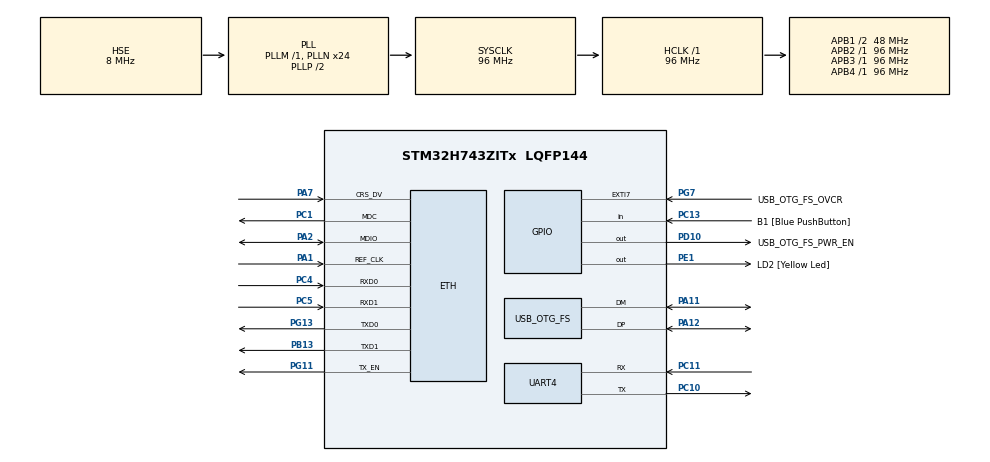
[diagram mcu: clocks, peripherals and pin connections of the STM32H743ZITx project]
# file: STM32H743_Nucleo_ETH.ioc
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CORTEX_M7.AccessPermission-Cortex_Memory_Protection_Unit_Region0_Settings=MPU_REGION_FULL_ACCESS
CORTEX_M7.AccessPermission-Cortex_Memory_Protection_Unit_Region1_Settings=MPU_REGION_FULL_ACCESS
CORTEX_M7.BaseAddress-Cortex_Memory_Protection_Unit_Region0_Settings=0x30040000
CORTEX_M7.CPU_DCache=Enabled
CORTEX_M7.CPU_ICache=Enabled
CORTEX_M7.DisableExec-Cortex_Memory_Protection_Unit_Region0_Settings=MPU_INSTRUCTION_ACCESS_DISABLE
CORTEX_M7.DisableExec-Cortex_Memory_Protection_Unit_Region1_Settings=MPU_INSTRUCTION_ACCESS_DISABLE
CORTEX_M7.Enable-Cortex_Memory_Protection_Unit_Region0_Settings=MPU_REGION_ENABLE
CORTEX_M7.Enable-Cortex_Memory_Protection_Unit_Region1_Settings=MPU_REGION_ENABLE
CORTEX_M7.IsBufferable-Cortex_Memory_Protection_Unit_Region1_Settings=MPU_ACCESS_BUFFERABLE
CORTEX_M7.IsShareable-Cortex_Memory_Protection_Unit_Region1_Settings=MPU_ACCESS_SHAREABLE
CORTEX_M7.MPU_Control=MPU_PRIVILEGED_DEFAULT
CORTEX_M7.Size-Cortex_Memory_Protection_Unit_Region0_Settings=MPU_REGION_SIZE_32KB
CORTEX_M7.Size-Cortex_Memory_Protection_Unit_Region1_Settings=MPU_REGION_SIZE_256B
CORTEX_M7.TypeExtField-Cortex_Memory_Protection_Unit_Region0_Settings=MPU_TEX_LEVEL1
ETH.MACAddr=00\:80\:E1\:01\:01\:01
ETH.MediaInterface=HAL_ETH_RMII_MODE
FREERTOS.HEAP_NUMBER=4
FREERTOS.Queues01=toServerMessage,16,uint16_t,0,Dynamic,NULL,NULL
FREERTOS.Tasks01=MainTask,48,4096,StartMainTask,Default,NULL,Dynamic,NULL,NULL
FREERTOS.configENABLE_FPU=0
FREERTOS.configMINIMAL_STACK_SIZE=256
FREERTOS.configTOTAL_HEAP_SIZE=128000
FREERTOS.configUSE_APPLICATION_TASK_TAG=1
FREERTOS.configUSE_CO_ROUTINES=0
FREERTOS.configUSE_NEWLIB_REENTRANT=1
FREERTOS.configUSE_PREEMPTION=1
FREERTOS.copyHeapFile=1
LWIP.BSP.number=1
LWIP.IP_REASS_MAXAGE=5
LWIP.LWIP_HAVE_LOOPIF=1
LWIP.LWIP_LOOPBACK_MAX_PBUFS=4
LWIP.LWIP_MPU_COMPATIBLE=1
LWIP.LWIP_NETIF_LOOPBACK=1
LWIP.LWIP_SO_LINGER=0
LWIP.LWIP_SO_RCVBUF=0
LWIP.LWIP_SO_RCVTIMEO=1
LWIP.LWIP_SO_SNDRCVTIMEO_NONSTANDARD=1
LWIP.LWIP_SO_SNDTIMEO=1
LWIP.LWIP_TCPIP_CORE_LOCKING=1
LWIP.LWIP_TCPIP_TIMEOUT=1
LWIP.LWIP_TCP_CLOSE_TIMEOUT_MS_DEFAULT=2000
LWIP.LWIP_TCP_KEEPALIVE=0
LWIP.SYS_LIGHTWEIGHT_PROT=0
LWIP.Version=v2.1.2_Cube
LWIP0.BSP.STBoard=false
LWIP0.BSP.api=BSP_COMPONENT_DRIVER
LWIP0.BSP.component=LAN8742
LWIP0.BSP.i2caddr=0
LWIP0.BSP.instance=LAN8742
LWIP0.BSP.name=Driver_PHY
LWIP0.BSP.solution=LAN8742
Mcu.Family=STM32H7
Mcu.Name=STM32H743ZITx
Mcu.Package=LQFP144
NVIC.ETH_IRQn=true\:5\:0\:false\:false\:true\:true\:true\:true
NVIC.OTG_FS_IRQn=true\:5\:0\:false\:false\:true\:true\:true\:true
NVIC.PriorityGroup=NVIC_PRIORITYGROUP_4
NVIC.TIM6_DAC_IRQn=true\:0\:0\:false\:false\:true\:false\:false\:true
NVIC.TimeBase=TIM6_DAC_IRQn
NVIC.TimeBaseIP=TIM6
NVIC.UART4_IRQn=true\:5\:0\:false\:false\:true\:true\:true\:true
PA1.Mode=RMII
PA1.Signal=ETH_REF_CLK
PA11.Mode=Device_Only
PA11.Signal=USB_OTG_FS_DM
PA12.Mode=Device_Only
PA12.Signal=USB_OTG_FS_DP
PA2.GPIO_Speed=GPIO_SPEED_FREQ_VERY_HIGH
PA2.Mode=RMII
PA2.Signal=ETH_MDIO
PA7.Mode=RMII
PA7.Signal=ETH_CRS_DV
PA8.Signal=USB_OTG_FS_SOF
PA9.Signal=USB_OTG_FS_VBUS
PB0.Signal=USB_OTG_HS_ULPI_D1
PB13.GPIO_Speed=GPIO_SPEED_FREQ_VERY_HIGH
PB13.Mode=RMII
PB13.Signal=ETH_TXD1
PB14.Signal=USB_OTG_HS_DM
PC1.GPIO_Speed=GPIO_SPEED_FREQ_VERY_HIGH
PC1.Mode=RMII
PC1.Signal=ETH_MDC
PC10.Mode=Asynchronous
PC10.Signal=UART4_TX
PC11.Mode=Asynchronous
PC11.Signal=UART4_RX
PC13.GPIO_Label=B1 [Blue PushButton]
PC13.Signal=GPIO_Input
PC14-OSC32_IN\ (OSC32_IN).Signal=RCC_OSC32_IN
PC15-OSC32_OUT\ (OSC32_OUT).Signal=RCC_OSC32_OUT
PC4.GPIO_Speed=GPIO_SPEED_FREQ_VERY_HIGH
PC4.Mode=RMII
PC4.Signal=ETH_RXD0
PC5.GPIO_Speed=GPIO_SPEED_FREQ_VERY_HIGH
PC5.Mode=RMII
PC5.Signal=ETH_RXD1
PD10.GPIO_Label=USB_OTG_FS_PWR_EN
PD10.Signal=GPIO_Output
PD8.GPIO_Label=STLINK_RX
PD8.Signal=USART3_TX
PD9.GPIO_Label=STLINK_TX
PD9.Signal=USART3_RX
PE1.GPIO_Label=LD2 [Yellow Led]
PE1.Signal=GPIO_Output
PG11.GPIO_Speed=GPIO_SPEED_FREQ_VERY_HIGH
PG11.Mode=RMII
PG11.Signal=ETH_TX_EN
PG13.GPIO_Speed=GPIO_SPEED_FREQ_VERY_HIGH
PG13.Mode=RMII
PG13.Signal=ETH_TXD0
PG7.GPIO_Label=USB_OTG_FS_OVCR
PG7.Signal=GPXTI7
PH0-OSC_IN\ (PH0).Mode=HSE-External-Clock-Source
PH0-OSC_IN\ (PH0).Signal=RCC_OSC_IN
PH1-OSC_OUT\ (PH1).Signal=RCC_OSC_OUT
ProjectManager.HeapSize=0x200
ProjectManager.StackSize=0x400
ProjectManager.TargetToolchain=STM32CubeIDE
RCC.ADCFreq_Value=16125000
RCC.APB1Freq_Value=48000000
RCC.APB2Freq_Value=96000000
RCC.APB3Freq_Value=96000000
RCC.APB4Freq_Value=96000000
RCC.CortexFreq_Value=96000000
RCC.D2PPRE1=RCC_APB1_DIV2
RCC.DIVM1=1
RCC.DIVN1=24
RCC.DIVQ1=4
RCC.HCLKFreq_Value=96000000
RCC.HSE_VALUE=8000000
RCC.PLLFRACN=0
RCC.PLLSourceVirtual=RCC_PLLSOURCE_HSE
RCC.ProductRev=revV
RCC.SYSCLKFreq_VALUE=96000000
RCC.SYSCLKSource=RCC_SYSCLKSOURCE_PLLCLK
RCC.USBFreq_Value=48000000
USB_DEVICE.CLASS_NAME_FS=CDC
USB_DEVICE.VirtualMode-CDC_FS=Cdc
USB_DEVICE.VirtualModeFS=Cdc_FS
USB_OTG_FS.VirtualMode=Device_Only
VP_FREERTOS_VS_CMSIS_V2.Mode=CMSIS_V2
VP_LWIP_VS_Enabled.Mode=Enabled
VP_SYS_VS_tim6.Mode=TIM6
VP_USB_DEVICE_VS_USB_DEVICE_CDC_FS.Mode=CDC_FS
board=NUCLEO-H743ZI2

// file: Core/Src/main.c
/* USER CODE BEGIN Header */
/**
 ******************************************************************************
 * @file           : main.c
 * @brief          : Main program body
 ******************************************************************************
 * @attention
 *
 * <h2><center>&copy; Copyright (c) 2021 STMicroelectronics.
 * All rights reserved.</center></h2>
 *
 * This software component is licensed by ST under Ultimate Liberty license
 * SLA0044, the "License"; You may not use this file except in compliance with
 * the License. You may obtain a copy of the License at:
 *                             www.st.com/SLA0044
 *
 ******************************************************************************
 */
/* USER CODE END Header */
#include "main.h"
#include "cmsis_os.h"
#include "lwip.h"
#include "usb_device.h"

/* USER CODE BEGIN Includes */
#include "lwip/udp.h"
#include <string.h>
#include "Files.h"
#include "DeviceTime.h"
#include "DeviceLogger.h"
#include "Transport.h"
#include "Technology.h"
#include "CommonData.h"
#include "Camera.h"
#include "Shell.h"
#include <stdbool.h>

/* USER CODE END Includes */

/* USER CODE BEGIN PD */

#define STEP_SHARE 				100000
#define STEP_SERVER_MODBUS_TCP 	1000
#define STEP_CLIENT_MODBUS_TCP 	10000

/* USER CODE END PD */

UART_HandleTypeDef huart4;

/* Definitions for MainTask */
osThreadId_t MainTaskHandle;
const osThreadAttr_t MainTask_attributes = {
  .name = "MainTask",
  .stack_size = 4096 * 4,
  .priority = (osPriority_t) osPriorityRealtime,
};
/* Definitions for toServerMessage */
osMessageQueueId_t toServerMessageHandle;
const osMessageQueueAttr_t toServerMessage_attributes = {
  .name = "toServerMessage"
};

void SystemClock_Config(void);
static void MPU_Config(void);
static void MX_GPIO_Init(void);
static void MX_UART4_Init(void);
void StartMainTask(void *argument);

/* USER CODE BEGIN 0 */
char bufferCDC [ 128 ];
/* USER CODE END 0 */

int main(void)
{

  /* MPU Configuration--------------------------------------------------------*/
  MPU_Config();

  /* Enable I-Cache---------------------------------------------------------*/
  SCB_EnableICache();

  /* Enable D-Cache---------------------------------------------------------*/
  SCB_EnableDCache();

  /* MCU Configuration--------------------------------------------------------*/

  /* Reset of all peripherals, Initializes the Flash interface and the Systick. */
  HAL_Init();

  /* Configure the system clock */
  SystemClock_Config();

  /* Initialize all configured peripherals */
  MX_GPIO_Init();
  MX_UART4_Init();

  /* Init scheduler */
  osKernelInitialize();

  /* USER CODE BEGIN RTOS_TIMERS */
	/* start timers, add new ones, ... */
	DeviceTimeInit();
  /* USER CODE END RTOS_TIMERS */

  /* Create the queue(s) */
  /* creation of toServerMessage */
  toServerMessageHandle = osMessageQueueNew (16, sizeof(uint16_t), &toServerMessage_attributes);

  /* Create the thread(s) */
  /* creation of MainTask */
  MainTaskHandle = osThreadNew(StartMainTask, NULL, &MainTask_attributes);

  /* Start scheduler */
  osKernelStart();

  /* We should never get here as control is now taken by the scheduler */
  /* Infinite loop */
	while (1) {

	}
}

void SystemClock_Config(void)
{
  RCC_OscInitTypeDef RCC_OscInitStruct = {0};
  RCC_ClkInitTypeDef RCC_ClkInitStruct = {0};

  /** Supply configuration update enable
  */
  HAL_PWREx_ConfigSupply(PWR_LDO_SUPPLY);
  /** Configure the main internal regulator output voltage
  */
  __HAL_PWR_VOLTAGESCALING_CONFIG(PWR_REGULATOR_VOLTAGE_SCALE3);

  while(!__HAL_PWR_GET_FLAG(PWR_FLAG_VOSRDY)) {}
  /** Initializes the RCC Oscillators according to the specified parameters
  * in the RCC_OscInitTypeDef structure.
  */
  RCC_OscInitStruct.OscillatorType = RCC_OSCILLATORTYPE_HSE;
  RCC_OscInitStruct.HSEState = RCC_HSE_BYPASS;
  RCC_OscInitStruct.PLL.PLLState = RCC_PLL_ON;
  RCC_OscInitStruct.PLL.PLLSource = RCC_PLLSOURCE_HSE;
  RCC_OscInitStruct.PLL.PLLM = 1;
  RCC_OscInitStruct.PLL.PLLN = 24;
  RCC_OscInitStruct.PLL.PLLP = 2;
  RCC_OscInitStruct.PLL.PLLQ = 4;
  RCC_OscInitStruct.PLL.PLLR = 2;
  RCC_OscInitStruct.PLL.PLLRGE = RCC_PLL1VCIRANGE_3;
  RCC_OscInitStruct.PLL.PLLVCOSEL = RCC_PLL1VCOWIDE;
  RCC_OscInitStruct.PLL.PLLFRACN = 0;
  if (HAL_RCC_OscConfig(&RCC_OscInitStruct) != HAL_OK)
  {
    Error_Handler();
  }
  /** Initializes the CPU, AHB and APB buses clocks
  */
  RCC_ClkInitStruct.ClockType = RCC_CLOCKTYPE_HCLK|RCC_CLOCKTYPE_SYSCLK
                              |RCC_CLOCKTYPE_PCLK1|RCC_CLOCKTYPE_PCLK2
                              |RCC_CLOCKTYPE_D3PCLK1|RCC_CLOCKTYPE_D1PCLK1;
  RCC_ClkInitStruct.SYSCLKSource = RCC_SYSCLKSOURCE_PLLCLK;
  RCC_ClkInitStruct.SYSCLKDivider = RCC_SYSCLK_DIV1;
  RCC_ClkInitStruct.AHBCLKDivider = RCC_HCLK_DIV1;
  RCC_ClkInitStruct.APB3CLKDivider = RCC_APB3_DIV1;
  RCC_ClkInitStruct.APB1CLKDivider = RCC_APB1_DIV2;
  RCC_ClkInitStruct.APB2CLKDivider = RCC_APB2_DIV1;
  RCC_ClkInitStruct.APB4CLKDivider = RCC_APB4_DIV1;

  if (HAL_RCC_ClockConfig(&RCC_ClkInitStruct, FLASH_LATENCY_2) != HAL_OK)
  {
    Error_Handler();
  }
}

static void MX_UART4_Init(void)
{

  huart4.Instance = UART4;
  huart4.Init.BaudRate = 115200;
  huart4.Init.WordLength = UART_WORDLENGTH_8B;
  huart4.Init.StopBits = UART_STOPBITS_1;
  huart4.Init.Parity = UART_PARITY_NONE;
  huart4.Init.Mode = UART_MODE_TX_RX;
  huart4.Init.HwFlowCtl = UART_HWCONTROL_NONE;
  huart4.Init.OverSampling = UART_OVERSAMPLING_16;
  huart4.Init.OneBitSampling = UART_ONE_BIT_SAMPLE_DISABLE;
  huart4.Init.ClockPrescaler = UART_PRESCALER_DIV1;
  huart4.AdvancedInit.AdvFeatureInit = UART_ADVFEATURE_NO_INIT;
  if (HAL_UART_Init(&huart4) != HAL_OK)
  {
    Error_Handler();
  }
  if (HAL_UARTEx_SetTxFifoThreshold(&huart4, UART_TXFIFO_THRESHOLD_1_8) != HAL_OK)
  {
    Error_Handler();
  }
  if (HAL_UARTEx_SetRxFifoThreshold(&huart4, UART_RXFIFO_THRESHOLD_1_8) != HAL_OK)
  {
    Error_Handler();
  }
  if (HAL_UARTEx_DisableFifoMode(&huart4) != HAL_OK)
  {
    Error_Handler();
  }

}

static void MX_GPIO_Init(void)
{
  GPIO_InitTypeDef GPIO_InitStruct = {0};

  /* GPIO Ports Clock Enable */
  __HAL_RCC_GPIOC_CLK_ENABLE();
  __HAL_RCC_GPIOH_CLK_ENABLE();
  __HAL_RCC_GPIOA_CLK_ENABLE();
  __HAL_RCC_GPIOB_CLK_ENABLE();
  __HAL_RCC_GPIOD_CLK_ENABLE();
  __HAL_RCC_GPIOG_CLK_ENABLE();
  __HAL_RCC_GPIOE_CLK_ENABLE();

  /*Configure GPIO pin Output Level */
  HAL_GPIO_WritePin(USB_OTG_FS_PWR_EN_GPIO_Port, USB_OTG_FS_PWR_EN_Pin, GPIO_PIN_RESET);

  /*Configure GPIO pin Output Level */
  HAL_GPIO_WritePin(LD2_GPIO_Port, LD2_Pin, GPIO_PIN_RESET);

  /*Configure GPIO pin : B1_Pin */
  GPIO_InitStruct.Pin = B1_Pin;
  GPIO_InitStruct.Mode = GPIO_MODE_INPUT;
  GPIO_InitStruct.Pull = GPIO_NOPULL;
  HAL_GPIO_Init(B1_GPIO_Port, &GPIO_InitStruct);

  /*Configure GPIO pin : PB0 */
  GPIO_InitStruct.Pin = GPIO_PIN_0;
  GPIO_InitStruct.Mode = GPIO_MODE_AF_PP;
  GPIO_InitStruct.Pull = GPIO_NOPULL;
  GPIO_InitStruct.Speed = GPIO_SPEED_FREQ_HIGH;
  GPIO_InitStruct.Alternate = GPIO_AF10_OTG2_HS;
  HAL_GPIO_Init(GPIOB, &GPIO_InitStruct);

  /*Configure GPIO pin : PB14 */
  GPIO_InitStruct.Pin = GPIO_PIN_14;
  GPIO_InitStruct.Mode = GPIO_MODE_AF_PP;
  GPIO_InitStruct.Pull = GPIO_NOPULL;
  GPIO_InitStruct.Speed = GPIO_SPEED_FREQ_LOW;
  GPIO_InitStruct.Alternate = GPIO_AF12_OTG2_FS;
  HAL_GPIO_Init(GPIOB, &GPIO_InitStruct);

  /*Configure GPIO pins : STLINK_RX_Pin STLINK_TX_Pin */
  GPIO_InitStruct.Pin = STLINK_RX_Pin|STLINK_TX_Pin;
  GPIO_InitStruct.Mode = GPIO_MODE_AF_PP;
  GPIO_InitStruct.Pull = GPIO_NOPULL;
  GPIO_InitStruct.Speed = GPIO_SPEED_FREQ_LOW;
  GPIO_InitStruct.Alternate = GPIO_AF7_USART3;
  HAL_GPIO_Init(GPIOD, &GPIO_InitStruct);

  /*Configure GPIO pin : USB_OTG_FS_PWR_EN_Pin */
  GPIO_InitStruct.Pin = USB_OTG_FS_PWR_EN_Pin;
  GPIO_InitStruct.Mode = GPIO_MODE_OUTPUT_PP;
  GPIO_InitStruct.Pull = GPIO_NOPULL;
  GPIO_InitStruct.Speed = GPIO_SPEED_FREQ_LOW;
  HAL_GPIO_Init(USB_OTG_FS_PWR_EN_GPIO_Port, &GPIO_InitStruct);

  /*Configure GPIO pin : USB_OTG_FS_OVCR_Pin */
  GPIO_InitStruct.Pin = USB_OTG_FS_OVCR_Pin;
  GPIO_InitStruct.Mode = GPIO_MODE_IT_RISING;
  GPIO_InitStruct.Pull = GPIO_NOPULL;
  HAL_GPIO_Init(USB_OTG_FS_OVCR_GPIO_Port, &GPIO_InitStruct);

  /*Configure GPIO pin : LD2_Pin */
  GPIO_InitStruct.Pin = LD2_Pin;
  GPIO_InitStruct.Mode = GPIO_MODE_OUTPUT_PP;
  GPIO_InitStruct.Pull = GPIO_NOPULL;
  GPIO_InitStruct.Speed = GPIO_SPEED_FREQ_LOW;
  HAL_GPIO_Init(LD2_GPIO_Port, &GPIO_InitStruct);

}

void StartMainTask(void *argument)
{
  /* init code for LWIP */
  MX_LWIP_Init();

  /* init code for USB_DEVICE */
  MX_USB_DEVICE_Init();
  /* USER CODE BEGIN 5 */
  Debug_Init();
  FilesInit();
  InitShell();
  DeviceLogInit();
  initCommonData();
  TechnologyInit();
  TransportStart();
  Debug_Message(LOG_INFO, "Система к работе готова");
  /* Infinite loop */
  for(;;)
  {
	  osDelay(1000U);
  }
  /* USER CODE END 5 */
}

/* MPU Configuration */

void MPU_Config(void)
{
  MPU_Region_InitTypeDef MPU_InitStruct = {0};

  /* Disables the MPU */
  HAL_MPU_Disable();
  /** Initializes and configures the Region and the memory to be protected
  */
  MPU_InitStruct.Enable = MPU_REGION_ENABLE;
  MPU_InitStruct.Number = MPU_REGION_NUMBER0;
  MPU_InitStruct.BaseAddress = 0x30040000;
  MPU_InitStruct.Size = MPU_REGION_SIZE_32KB;
  MPU_InitStruct.SubRegionDisable = 0x0;
  MPU_InitStruct.TypeExtField = MPU_TEX_LEVEL1;
  MPU_InitStruct.AccessPermission = MPU_REGION_FULL_ACCESS;
  MPU_InitStruct.DisableExec = MPU_INSTRUCTION_ACCESS_DISABLE;
  MPU_InitStruct.IsShareable = MPU_ACCESS_NOT_SHAREABLE;
  MPU_InitStruct.IsCacheable = MPU_ACCESS_NOT_CACHEABLE;
  MPU_InitStruct.IsBufferable = MPU_ACCESS_NOT_BUFFERABLE;

  HAL_MPU_ConfigRegion(&MPU_InitStruct);
  /** Initializes and configures the Region and the memory to be protected
  */
  MPU_InitStruct.Number = MPU_REGION_NUMBER1;
  MPU_InitStruct.BaseAddress = 0x0;
  MPU_InitStruct.Size = MPU_REGION_SIZE_256B;
  MPU_InitStruct.TypeExtField = MPU_TEX_LEVEL0;
  MPU_InitStruct.IsShareable = MPU_ACCESS_SHAREABLE;
  MPU_InitStruct.IsBufferable = MPU_ACCESS_BUFFERABLE;

  HAL_MPU_ConfigRegion(&MPU_InitStruct);
  /* Enables the MPU */
  HAL_MPU_Enable(MPU_PRIVILEGED_DEFAULT);

}

void HAL_TIM_PeriodElapsedCallback(TIM_HandleTypeDef *htim)
{
  if (htim->Instance == TIM6) {
    HAL_IncTick();
  }
}

void Error_Handler(void)
{
	__disable_irq();
	while (1) {
	}
}

/************************ (C) COPYRIGHT STMicroelectronics *****END OF FILE****/
